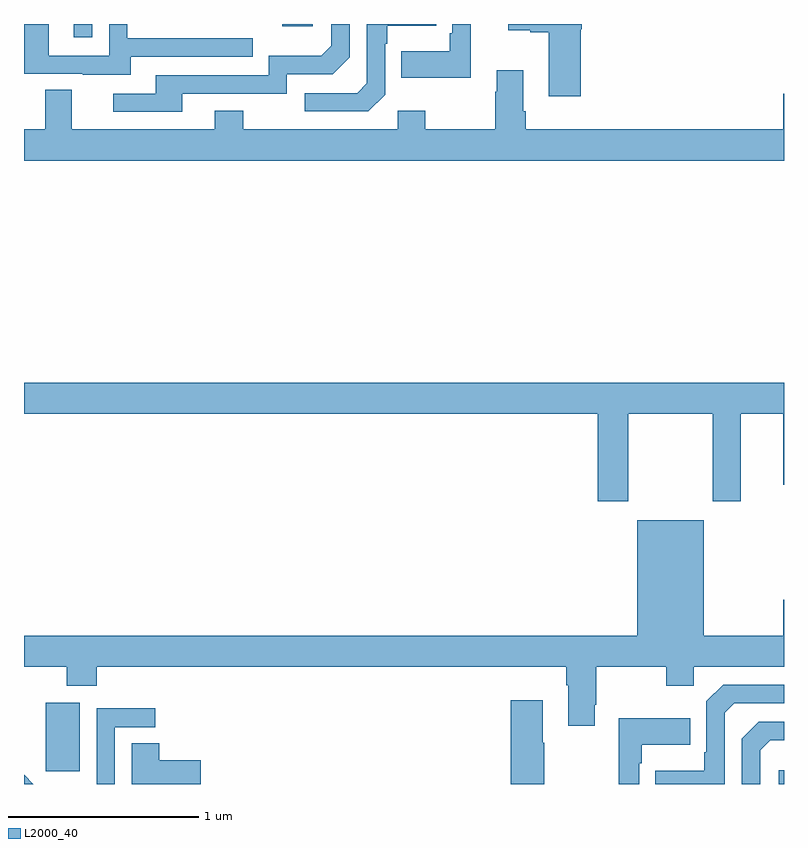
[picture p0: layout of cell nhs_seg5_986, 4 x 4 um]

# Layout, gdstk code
import gdstk
lib = gdstk.Library(unit=1e-6, precision=1e-09)
def R(c, l, rs):  # rectangles x0, y0, x1, y1
    for r in rs: c.add(gdstk.rectangle(r[:2], r[2:], *l))
def P(c, l, *ps):  # polygons
    for p in ps: c.add(gdstk.Polygon(p, *l))
L2000_40 = (2000, 40)

nhs_seg5_986 = lib.new_cell('nhs_seg5_986')
R(nhs_seg5_986, L2000_40, [(176.973,866.799,177,866.872), (173.114,866.865,173.293,867.226), (173.261,870.729,173.358,870.799), (174.359,870.788,174.52,870.799)])
P(nhs_seg5_986, L2000_40, [(175.931,870.771),(175.936,870.771),(175.936,870.799),(175.548,870.799),(175.548,870.767),(175.664,870.767),(175.664,870.755),(175.763,870.755),(175.763,870.42),(175.931,870.42)],
  [(173.833,870.432),(174.384,870.432),(174.384,870.534),(174.624,870.534),(174.714,870.624),(174.714,870.799),(174.618,870.799),(174.618,870.684),(174.565,870.631),(174.288,870.631),(174.288,870.528),(173.693,870.528),(173.693,870.432),(173.469,870.432),(173.469,870.336),(173.833,870.336)],
  [(173.563,870.627),(174.203,870.627),(174.203,870.723),(173.544,870.723),(173.544,870.799),(173.448,870.799),(173.448,870.633),(173.13,870.633),(173.13,870.799),(173,870.799),(173,870.537),(173.309,870.537),(173.309,870.533),(173.563,870.533)],
  [(174.9,870.426),(174.9,870.695),(174.913,870.695),(174.913,870.791),(175.169,870.791),(175.169,870.799),(174.804,870.799),(174.804,870.486),(174.753,870.435),(174.477,870.435),(174.477,870.339),(174.813,870.339)],
  [(175.352,870.799),(175.254,870.799),(175.254,870.751),(175.242,870.751),(175.242,870.655),(174.985,870.655),(174.985,870.515),(175.352,870.515)],
  [(177,870.433),(176.996,870.433),(176.996,870.244),(175.64,870.244),(175.64,870.34),(175.627,870.34),(175.627,870.556),(175.487,870.556),(175.487,870.443),(175.48,870.443),(175.48,870.244),(175.113,870.244),(175.113,870.343),(174.966,870.343),(174.966,870.244),(174.153,870.244),(174.153,870.343),(174.005,870.343),(174.005,870.244),(173.251,870.244),(173.251,870.452),(173.111,870.452),(173.111,870.244),(173,870.244),(173,870.08),(177,870.08)],
  [(176.181,868.748),(176.626,868.748),(176.626,868.287),(176.773,868.287),(176.773,868.748),(176.996,868.748),(176.996,868.374),(177,868.374),(177,868.912),(173,868.912),(173,868.748),(176.021,868.748),(176.021,868.287),(176.181,868.287)],
  [(176.005,867.217),(176.013,867.217),(176.013,867.416),(176.38,867.416),(176.38,867.317),(176.526,867.317),(176.526,867.416),(177,867.416),(177,867.769),(176.996,867.769),(176.996,867.58),(176.578,867.58),(176.578,868.186),(176.228,868.186),(176.228,867.58),(173,867.58),(173,867.416),(173.224,867.416),(173.224,867.317),(173.384,867.317),(173.384,867.416),(175.853,867.416),(175.853,867.32),(175.865,867.32),(175.865,867.105),(176.005,867.105)],
  [(176.688,867.174),(176.739,867.225),(177,867.225),(177,867.321),(176.679,867.321),(176.592,867.234),(176.592,866.965),(176.58,866.965),(176.58,866.869),(176.323,866.869),(176.323,866.799),(176.688,866.799)],
  [(175.737,867.017),(175.729,867.017),(175.729,867.241),(175.562,867.241),(175.562,866.799),(175.737,866.799)],
  [(173.478,867.099),(173.692,867.099),(173.692,867.198),(173.382,867.198),(173.382,866.799),(173.478,866.799)],
  [(176.238,866.909),(176.251,866.909),(176.251,867.005),(176.507,867.005),(176.507,867.145),(176.13,867.145),(176.13,866.799),(176.238,866.799)],
  [(176.874,866.976),(176.927,867.029),(177,867.029),(177,867.126),(176.868,867.126),(176.778,867.036),(176.778,866.799),(176.874,866.799)],
  [(173.929,866.924),(173.711,866.924),(173.711,867.014),(173.567,867.014),(173.567,866.799),(173.929,866.799)],
  [(173,866.849),(173,866.799),(173.049,866.799)])

lib.write_gds('nhs_seg5_986.gds')
